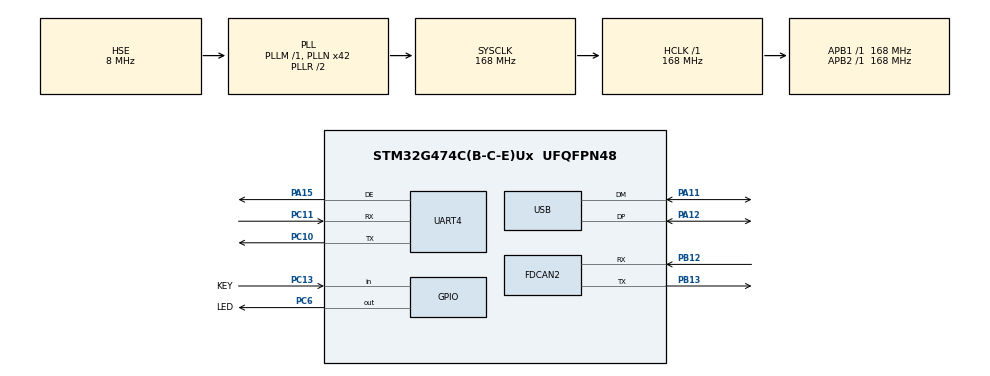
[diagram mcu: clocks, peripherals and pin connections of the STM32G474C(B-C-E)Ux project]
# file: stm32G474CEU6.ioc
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FDCAN2.AutoRetransmission=DISABLE
FDCAN2.CalculateBaudRateNominal=500000
FDCAN2.CalculateTimeBitNominal=2000
FDCAN2.CalculateTimeQuantumNominal=17.857142857142858
FDCAN2.DataPrescaler=3
FDCAN2.DataSyncJumpWidth=7
FDCAN2.DataTimeSeg1=20
FDCAN2.DataTimeSeg2=7
FDCAN2.FrameFormat=FDCAN_FRAME_CLASSIC
FDCAN2.Mode=FDCAN_MODE_NORMAL
FDCAN2.NominalPrescaler=3
FDCAN2.NominalSyncJumpWidth=14
FDCAN2.NominalTimeSeg1=97
FDCAN2.NominalTimeSeg2=14
Mcu.Family=STM32G4
Mcu.Name=STM32G474C(B-C-E)Ux
Mcu.Package=UFQFPN48
NVIC.FDCAN2_IT0_IRQn=true\:0\:0\:false\:false\:true\:true\:true\:true
NVIC.PriorityGroup=NVIC_PRIORITYGROUP_4
NVIC.UART4_IRQn=true\:0\:0\:false\:false\:true\:true\:true\:true
NVIC.USB_LP_IRQn=true\:0\:0\:false\:false\:true\:false\:true\:true
PA11.Mode=Device
PA11.Signal=USB_DM
PA12.Mode=Device
PA12.Signal=USB_DP
PA13.Mode=Serial_Wire
PA13.Signal=SYS_JTMS-SWDIO
PA14.Mode=Serial_Wire
PA14.Signal=SYS_JTCK-SWCLK
PA15.Mode=Hardware Flow Control (RS485)
PA15.Signal=UART4_DE
PB12.Mode=FDCAN_Activate
PB12.Signal=FDCAN2_RX
PB13.Mode=FDCAN_Activate
PB13.Signal=FDCAN2_TX
PC10.Mode=Asynchronous
PC10.Signal=UART4_TX
PC11.Mode=Asynchronous
PC11.Signal=UART4_RX
PC13.GPIO_Label=KEY
PC13.Signal=GPIO_Input
PC14-OSC32_IN.Mode=LSE-External-Oscillator
PC14-OSC32_IN.Signal=RCC_OSC32_IN
PC15-OSC32_OUT.Mode=LSE-External-Oscillator
PC15-OSC32_OUT.Signal=RCC_OSC32_OUT
PC6.GPIO_Label=LED
PC6.Signal=GPIO_Output
PF0-OSC_IN.Mode=HSE-External-Oscillator
PF0-OSC_IN.Signal=RCC_OSC_IN
PF1-OSC_OUT.Mode=HSE-External-Oscillator
PF1-OSC_OUT.Signal=RCC_OSC_OUT
ProjectManager.HeapSize=0x200
ProjectManager.StackSize=0x400
ProjectManager.TargetToolchain=CMake
RCC.ADC12Freq_Value=168000000
RCC.ADC345Freq_Value=168000000
RCC.AHBFreq_Value=168000000
RCC.APB1Freq_Value=168000000
RCC.APB1TimFreq_Value=168000000
RCC.APB2Freq_Value=168000000
RCC.APB2TimFreq_Value=168000000
RCC.CK48CLockSelection=RCC_USBCLKSOURCE_HSI48
RCC.CortexFreq_Value=168000000
RCC.EXTERNAL_CLOCK_VALUE=12288000
RCC.HCLKFreq_Value=168000000
RCC.HSE_VALUE=8000000
RCC.HSI48_VALUE=48000000
RCC.HSI_VALUE=16000000
RCC.PLLN=42
RCC.PLLQ=RCC_PLLQ_DIV4
RCC.PLLSourceVirtual=RCC_PLLSOURCE_HSE
RCC.SYSCLKFreq_VALUE=168000000
RCC.SYSCLKSource=RCC_SYSCLKSOURCE_PLLCLK
RCC.USBFreq_Value=48000000
RCC.VCOOutputFreq_Value=336000000
USB_DEVICE.CLASS_NAME_FS=CDC
USB_DEVICE.VirtualMode=Cdc
USB_DEVICE.VirtualModeFS=Cdc_FS
VP_SYS_VS_DBSignals.Mode=DisableDeadBatterySignals
VP_USB_DEVICE_VS_USB_DEVICE_CDC_FS.Mode=CDC_FS
board=custom

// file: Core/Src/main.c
/* USER CODE BEGIN Header */
/**
  ******************************************************************************
  * @file           : main.c
  * @brief          : Main program body
  ******************************************************************************
  * @attention
  *
  * Copyright (c) 2025 STMicroelectronics.
  * All rights reserved.
  *
  * This software is licensed under terms that can be found in the LICENSE file
  * in the root directory of this software component.
  * If no LICENSE file comes with this software, it is provided AS-IS.
  *
  ******************************************************************************
  */

/* USER CODE END Header */
#include "main.h"
#include "fdcan.h"
#include "usart.h"
#include "usb_device.h"
#include "gpio.h"

/* USER CODE BEGIN Includes */

#include "test.h"
#include "stdio.h"
#include "string.h"
#include "usbd_cdc_if.h"
/* USER CODE END Includes */

/* USER CODE BEGIN PV */
int count = 0;
char countBuffer[32];
char buffer[32];
uint8_t RxTemp[2];
uint8_t RxData[32];
uint8_t FinalData[32];
uint8_t rx;
int RxIndx = 0;
int length = 0;

int ledState = 0;

FDCAN_FilterTypeDef sFilterConfig;
FDCAN_TxHeaderTypeDef TxHeader;
FDCAN_RxHeaderTypeDef RxHeader;

uint8_t RxCANData[8];
uint8_t TxCANData[8];

uint32_t lastMillis = 0;
/* USER CODE END PV */

void SystemClock_Config(void);

/* USER CODE BEGIN 0 */
int _write(int file, char *ptr, int len)
{
  HAL_UART_Transmit(&huart4, (uint8_t*)ptr, len, 10);

  return len;
}

void HAL_UART_RxCpltCallback(UART_HandleTypeDef *huart)
{
  if(huart->Instance == UART4)
  {
    memset(buffer, 0, sizeof(buffer));

    // HAL_UART_Receive_IT(&huart4, &rx, 1);
    // HAL_UART_Transmit(&huart4, &rx, 1, 10);
    HAL_UART_Receive_IT(&huart4, RxTemp, 1);
    // HAL_UART_Transmit(&huart4, RxTemp, 1, 10);

    sprintf(buffer, "Receivecd[%d] : %c\r\n", strlen(buffer), RxTemp[0]);
    HAL_UART_Transmit(&huart4, (uint8_t*)buffer, strlen(buffer), 10);
    memset(RxTemp, 0, sizeof(RxTemp));
  }
  //memcpy(RxData + RxIndx, RxTemp,1);

  //HAL_UART_Transmit_IT(&huart4, RxTemp, 1);

  // if(++RxIndx >= 1)
  // {

  //   printf(RxData);
  //   RxIndx = 0;
  // }
  // HAL_UART_Receive_IT(&huart4, RxData, 1);
}

void HAL_FDCAN_RxFifo0Callback(FDCAN_HandleTypeDef *hfdcan, uint32_t RxFifo0ITs)
{

  if((RxFifo0ITs & FDCAN_IT_RX_FIFO0_NEW_MESSAGE) != RESET)
  {
    uint8_t usb_buf[32];

    // sprintf(usb_buf, "Received[%d] => \r\n", count);
    // CDC_Transmit_FS(usb_buf, strlen(usb_buf));
    // memset(usb_buf, 0,strlen(usb_buf));

    /* Retreive Rx messages from RX FIFO0 */
    if (HAL_FDCAN_GetRxMessage(hfdcan, FDCAN_RX_FIFO0, &RxHeader, RxCANData) != HAL_OK)
    {
    /* Reception Error */
      Error_Handler();
    }

    if(hfdcan->Instance == FDCAN2)
    {

      // uint8_t TxData1[] = { 0x11, 0x22, 0x33, 0x44, 0x98, 0x55, 0x66, 0x77};	// 보낼데이터
      // if (HAL_FDCAN_AddMessageToTxFifoQ(&hfdcan2, &TxHeader, TxData1) != HAL_OK) {
      //   Error_Handler();
      // }

      uint32_t receivedID = RxHeader.Identifier;
      sprintf(usb_buf, "[%d] 0x%X\r\n", count, receivedID);
      CDC_Transmit_FS(usb_buf, strlen(usb_buf));
      memset(usb_buf, 0, strlen(usb_buf));

      // Return
      if (HAL_FDCAN_AddMessageToTxFifoQ(&hfdcan2, &RxHeader, RxCANData) != HAL_OK) {
        Error_Handler();
      }

      if(RxHeader.Identifier == 0x125)
      {

      }
    }

    if (HAL_FDCAN_ActivateNotification(hfdcan, FDCAN_IT_RX_FIFO0_NEW_MESSAGE, 0) != HAL_OK)
    {
      /* Notification Error */
      Error_Handler();
    }
  }
}

/* USER CODE END 0 */

int main(void)
{

  /* MCU Configuration--------------------------------------------------------*/

  /* Reset of all peripherals, Initializes the Flash interface and the Systick. */
  HAL_Init();

  /* Configure the system clock */
  SystemClock_Config();

  /* Initialize all configured peripherals */
  MX_GPIO_Init();
  MX_UART4_Init();
  MX_USB_Device_Init();
  MX_FDCAN2_Init();
  /* USER CODE BEGIN 2 */

  // HAL_UART_Receive_IT(&huart4, RxData, 1);
  HAL_UART_Receive_IT(&huart4, RxTemp, 1);
  // HAL_UART_Receive_IT(&huart4, &rx, 1);

  sFilterConfig.IdType = FDCAN_STANDARD_ID;
  sFilterConfig.FilterIndex = 0;
  sFilterConfig.FilterType = FDCAN_FILTER_MASK;
  sFilterConfig.FilterConfig = FDCAN_FILTER_TO_RXFIFO0;
  // sFilterConfig.FilterID1 = 0x123;
  // sFilterConfig.FilterID2 = 0x125;
  sFilterConfig.FilterID1 = 0x000;
  sFilterConfig.FilterID2 = 0x000;

  if (HAL_FDCAN_ConfigFilter(&hfdcan2, &sFilterConfig) != HAL_OK) {
    Error_Handler();
  }

  // if (HAL_FDCAN_ConfigGlobalFilter(&hfdcan2, FDCAN_REJECT, FDCAN_REJECT,
  // FDCAN_FILTER_REMOTE, FDCAN_FILTER_REMOTE) != HAL_OK) {
  //   Error_Handler();
  // }

  //

  // FDCAN 시작
  if (HAL_FDCAN_Start(&hfdcan2) != HAL_OK) {
	  Error_Handler();
  }

  // 수신인터럽트 설정
  if (HAL_FDCAN_ActivateNotification(&hfdcan2, FDCAN_IT_RX_FIFO0_NEW_MESSAGE,
      0) != HAL_OK) {
    Error_Handler();
  }

  TxHeader.Identifier = 0x123;
  TxHeader.IdType = FDCAN_STANDARD_ID;
  TxHeader.TxFrameType = FDCAN_DATA_FRAME;
  TxHeader.DataLength = FDCAN_DLC_BYTES_8;	// 데이터 길이
  TxHeader.ErrorStateIndicator = FDCAN_ESI_ACTIVE;
  TxHeader.BitRateSwitch = FDCAN_BRS_OFF;
  TxHeader.FDFormat = FDCAN_FD_CAN;
  TxHeader.TxEventFifoControl = FDCAN_NO_TX_EVENTS;
  TxHeader.MessageMarker = 0x00;

  uint8_t TxData0[] = { 0x11, 0x32, 0x54, 0x76, 0x98, 0x00, 0x11, 0x22};	// 보낼데이터

  // 데이터 전송

  /* USER CODE END 2 */

  /* Infinite loop */
  /* USER CODE BEGIN WHILE */
  while (1)
  {

  // FDCAN_RxHeaderTypeDef rxHeader1;
  // uint8_t rxData1[8];
  // uint8_t temp_buf[32];

  // if (HAL_FDCAN_GetRxMessage(&hfdcan2, FDCAN_RX_FIFO0, &rxHeader1, rxData1) == HAL_OK)
  // {
  //   uint32_t receivedID = rxHeader1.Identifier;
  //   sprintf(temp_buf, "[%d] 0x%X\r\n", count, receivedID);
  //   CDC_Transmit_FS(temp_buf, strlen(temp_buf));
  //   memset(temp_buf, 0, strlen(temp_buf));

  // }

  uint32_t currentMillis = HAL_GetTick();

  if(currentMillis - lastMillis >= 1000)
  {
    lastMillis = currentMillis;
    count++;
    sprintf(countBuffer, "[%d]\r\n", count);
    CDC_Transmit_FS(countBuffer, strlen(countBuffer));
    HAL_UART_Transmit(&huart4, (uint8_t*)countBuffer, sizeof(countBuffer) -1, 10);
    memset(countBuffer, 0,strlen(countBuffer));

    for (int i = 0; i < 8; i++)
    {
      TxCANData[i] = i + count;
    }

    // If CAN is not connected => STOP
    if (HAL_FDCAN_AddMessageToTxFifoQ(&hfdcan2, &TxHeader, TxCANData) != HAL_OK) {
      Error_Handler();
    }
    HAL_GPIO_TogglePin(LED_GPIO_Port, LED_Pin);
  }

    // HAL_GPIO_TogglePin(LED_GPIO_Port, LED_Pin);
    // // printf("[%d]\r\n", count);

    // count++;
    // sprintf(countBuffer, "[%d]\r\n", count);
    // CDC_Transmit_FS(countBuffer, strlen(countBuffer));
    // HAL_UART_Transmit(&huart4, (uint8_t*)countBuffer, sizeof(countBuffer) -1, 10);
    // memset(countBuffer, 0,strlen(countBuffer));

    // // // 보낼 데이터 설정
    // TxHeader.Identifier = 0x123;
    // TxHeader.IdType = FDCAN_STANDARD_ID;
    // TxHeader.TxFrameType = FDCAN_DATA_FRAME;
    // TxHeader.DataLength = FDCAN_DLC_BYTES_8;	// 데이터 길이
    // TxHeader.ErrorStateIndicator = FDCAN_ESI_ACTIVE;
    // TxHeader.BitRateSwitch = FDCAN_BRS_ON;
    // TxHeader.FDFormat = FDCAN_FD_CAN;
    // TxHeader.TxEventFifoControl = FDCAN_STORE_TX_EVENTS;
    // TxHeader.MessageMarker = 0x52;
    // if (HAL_FDCAN_AddMessageToTxFifoQ(&hfdcan2, &TxHeader, TxData0) != HAL_OK) {
    //   Error_Handler();
    // }
    // HAL_Delay(500);

    // if (RxTemp[0] == '\n' && RxIndx > 0)
	  // {
		//   memset(FinalData, 0, sizeof(FinalData));
		//   memcpy(FinalData, RxData, RxIndx);

		//   length = sprintf(buffer , "[%d]=>", RxIndx);
		//   for(uint8_t i = 0; i < RxIndx; i++)
		//   {
		// 	  length += sprintf(buffer + length, "%c", FinalData[i]);
		//   }

		//   HAL_UART_Transmit_IT(&huart4, (uint8_t*)buffer, length);

		//   memset(RxData, 0, sizeof(RxData));
		//   RxIndx = 0;

	  // }
    /* USER CODE END WHILE */

  }
}

void SystemClock_Config(void)
{
  RCC_OscInitTypeDef RCC_OscInitStruct = {0};
  RCC_ClkInitTypeDef RCC_ClkInitStruct = {0};

  /** Configure the main internal regulator output voltage
  */
  HAL_PWREx_ControlVoltageScaling(PWR_REGULATOR_VOLTAGE_SCALE1_BOOST);

  /** Initializes the RCC Oscillators according to the specified parameters
  * in the RCC_OscInitTypeDef structure.
  */
  RCC_OscInitStruct.OscillatorType = RCC_OSCILLATORTYPE_HSI48|RCC_OSCILLATORTYPE_HSE;
  RCC_OscInitStruct.HSEState = RCC_HSE_ON;
  RCC_OscInitStruct.HSI48State = RCC_HSI48_ON;
  RCC_OscInitStruct.PLL.PLLState = RCC_PLL_ON;
  RCC_OscInitStruct.PLL.PLLSource = RCC_PLLSOURCE_HSE;
  RCC_OscInitStruct.PLL.PLLM = RCC_PLLM_DIV1;
  RCC_OscInitStruct.PLL.PLLN = 42;
  RCC_OscInitStruct.PLL.PLLP = RCC_PLLP_DIV2;
  RCC_OscInitStruct.PLL.PLLQ = RCC_PLLQ_DIV4;
  RCC_OscInitStruct.PLL.PLLR = RCC_PLLR_DIV2;
  if (HAL_RCC_OscConfig(&RCC_OscInitStruct) != HAL_OK)
  {
    Error_Handler();
  }

  /** Initializes the CPU, AHB and APB buses clocks
  */
  RCC_ClkInitStruct.ClockType = RCC_CLOCKTYPE_HCLK|RCC_CLOCKTYPE_SYSCLK
                              |RCC_CLOCKTYPE_PCLK1|RCC_CLOCKTYPE_PCLK2;
  RCC_ClkInitStruct.SYSCLKSource = RCC_SYSCLKSOURCE_PLLCLK;
  RCC_ClkInitStruct.AHBCLKDivider = RCC_SYSCLK_DIV1;
  RCC_ClkInitStruct.APB1CLKDivider = RCC_HCLK_DIV1;
  RCC_ClkInitStruct.APB2CLKDivider = RCC_HCLK_DIV1;

  if (HAL_RCC_ClockConfig(&RCC_ClkInitStruct, FLASH_LATENCY_4) != HAL_OK)
  {
    Error_Handler();
  }
}

void Error_Handler(void)
{
  __disable_irq();
  while (1)
  {
  }
}
